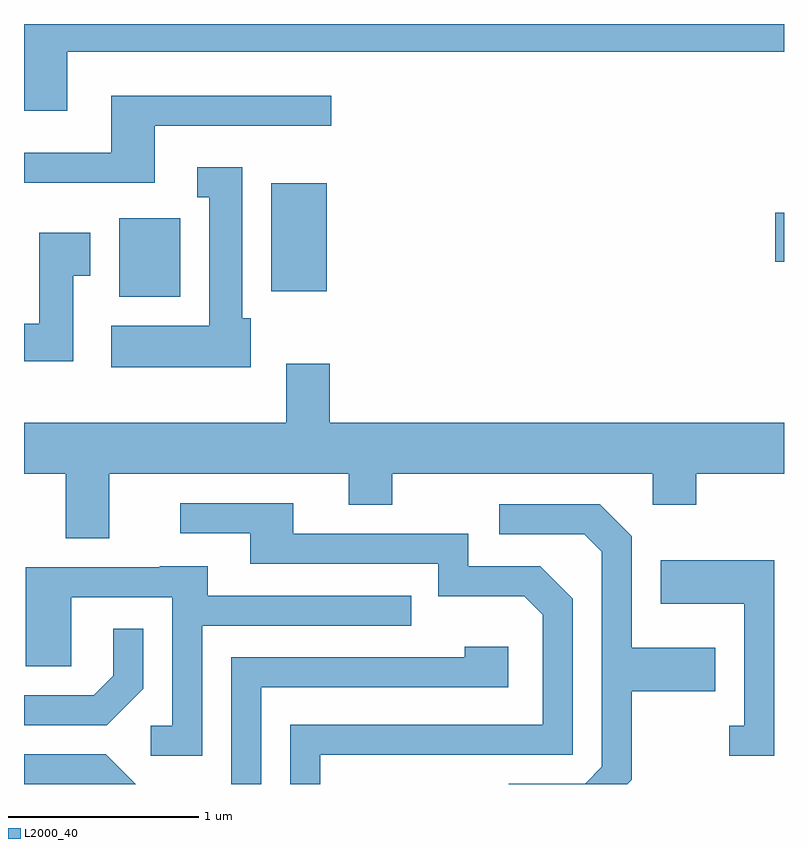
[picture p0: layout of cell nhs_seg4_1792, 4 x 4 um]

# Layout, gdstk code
import gdstk
lib = gdstk.Library(unit=1e-6, precision=1e-09)
def R(c, l, rs):  # rectangles x0, y0, x1, y1
    for r in rs: c.add(gdstk.rectangle(r[:2], r[2:], *l))
def P(c, l, *ps):  # polygons
    for p in ps: c.add(gdstk.Polygon(p, *l))
L2000_40 = (2000, 40)

nhs_seg4_1792 = lib.new_cell('nhs_seg4_1792')
R(nhs_seg4_1792, L2000_40, [(238.111,1304.546,238.434,1304.959), (238.911,1304.576,239.204,1305.144), (241.566,1304.731,241.611,1304.989)])
P(nhs_seg4_1792, L2000_40, [(237.839,1305.836),(241.611,1305.836),(241.611,1305.982),(237.611,1305.982),(237.611,1305.526),(237.839,1305.526)],
  [(238.299,1305.446),(239.228,1305.446),(239.228,1305.604),(238.071,1305.604),(238.071,1305.304),(237.611,1305.304),(237.611,1305.146),(238.299,1305.146)],
  [(238.804,1304.434),(238.759,1304.434),(238.759,1305.229),(238.523,1305.229),(238.523,1305.071),(238.586,1305.071),(238.586,1304.394),(238.071,1304.394),(238.071,1304.176),(238.804,1304.176)],
  [(237.869,1304.656),(237.959,1304.656),(237.959,1304.884),(237.691,1304.884),(237.691,1304.404),(237.611,1304.404),(237.611,1304.206),(237.869,1304.206)],
  [(238.059,1303.616),(239.321,1303.616),(239.321,1303.451),(239.549,1303.451),(239.549,1303.616),(240.921,1303.616),(240.921,1303.451),(241.149,1303.451),(241.149,1303.616),(241.611,1303.616),(241.611,1303.884),(239.219,1303.884),(239.219,1304.194),(238.991,1304.194),(238.991,1303.884),(237.611,1303.884),(237.611,1303.616),(237.831,1303.616),(237.831,1303.276),(238.059,1303.276)],
  [(239.169,1302.136),(240.499,1302.136),(240.499,1302.957),(240.327,1303.129),(239.949,1303.129),(239.949,1303.299),(239.029,1303.299),(239.029,1303.459),(238.433,1303.459),(238.433,1303.301),(238.801,1303.301),(238.801,1303.141),(239.791,1303.141),(239.791,1302.971),(240.244,1302.971),(240.341,1302.874),(240.341,1302.294),(239.011,1302.294),(239.011,1301.982),(239.169,1301.982)],
  [(240.809,1302.004),(240.809,1302.471),(241.249,1302.471),(241.249,1302.699),(240.809,1302.699),(240.809,1303.287),(240.642,1303.454),(240.113,1303.454),(240.113,1303.296),(240.559,1303.296),(240.651,1303.204),(240.651,1302.072),(240.564,1301.984),(240.163,1301.984),(240.163,1301.982),(240.787,1301.982)],
  [(241.559,1303.159),(240.961,1303.159),(240.961,1302.931),(241.401,1302.931),(241.401,1302.289),(241.323,1302.289),(241.323,1302.131),(241.559,1302.131)],
  [(238.549,1302.816),(239.648,1302.816),(239.648,1302.974),(238.579,1302.974),(238.579,1303.129),(238.325,1303.129),(238.325,1303.124),(237.621,1303.124),(237.621,1302.601),(237.859,1302.601),(237.859,1302.966),(238.391,1302.966),(238.391,1302.289),(238.278,1302.289),(238.278,1302.131),(238.549,1302.131)],
  [(238.239,1302.484),(238.239,1302.798),(238.081,1302.798),(238.081,1302.552),(237.979,1302.449),(237.611,1302.449),(237.611,1302.291),(238.047,1302.291)],
  [(238.859,1302.491),(240.159,1302.491),(240.159,1302.704),(239.931,1302.704),(239.931,1302.649),(238.701,1302.649),(238.701,1301.982),(238.859,1301.982)],
  [(238.042,1302.139),(237.611,1302.139),(237.611,1301.982),(238.199,1301.982)])

lib.write_gds('nhs_seg4_1792.gds')
